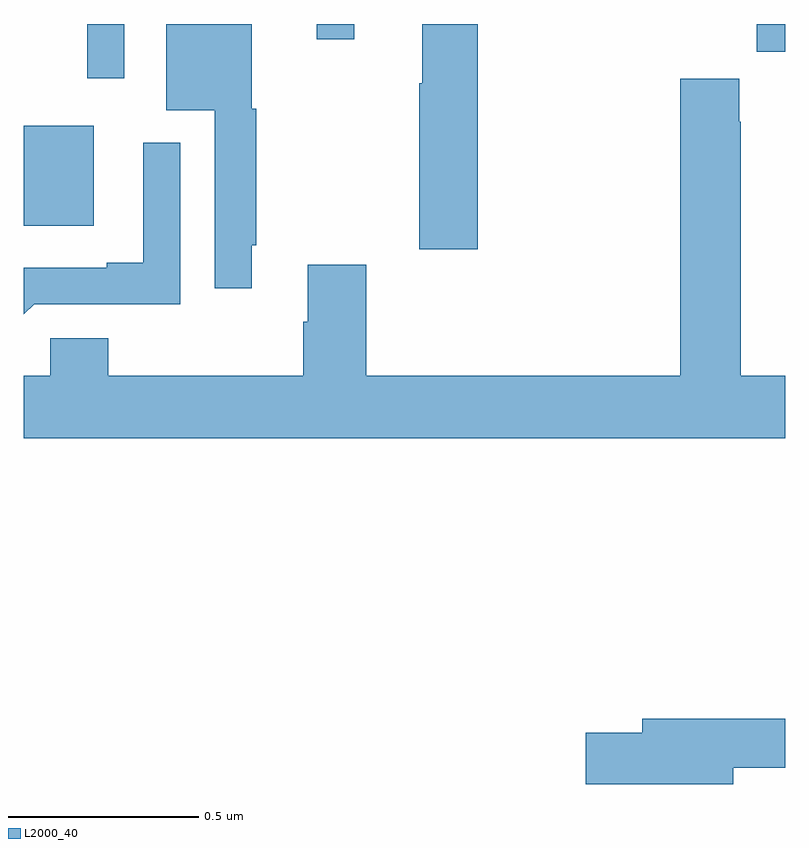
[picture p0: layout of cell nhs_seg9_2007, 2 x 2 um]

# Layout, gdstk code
import gdstk
lib = gdstk.Library(unit=1e-6, precision=1e-09)
def R(c, l, rs):  # rectangles x0, y0, x1, y1
    for r in rs: c.add(gdstk.rectangle(r[:2], r[2:], *l))
def P(c, l, *ps):  # polygons
    for p in ps: c.add(gdstk.Polygon(p, *l))
L2000_40 = (2000, 40)

nhs_seg9_2007 = lib.new_cell('nhs_seg9_2007')
R(nhs_seg9_2007, L2000_40, [(135,1204.97,135.184,1205.233), (135.167,1205.358,135.264,1205.5), (136.925,1205.427,137,1205.5), (135.769,1205.46,135.868,1205.5)])
P(nhs_seg9_2007, L2000_40, [(136.193,1205.5),(136.046,1205.5),(136.046,1205.344),(136.039,1205.344),(136.039,1204.908),(136.193,1204.908)],
  [(135.598,1204.918),(135.61,1204.918),(135.61,1205.277),(135.598,1205.277),(135.598,1205.5),(135.374,1205.5),(135.374,1205.273),(135.501,1205.273),(135.501,1204.806),(135.598,1204.806)],
  [(137,1204.576),(136.884,1204.576),(136.884,1205.243),(136.879,1205.243),(136.879,1205.356),(136.724,1205.356),(136.724,1204.576),(135.899,1204.576),(135.899,1204.867),(135.746,1204.867),(135.746,1204.718),(135.734,1204.718),(135.734,1204.576),(135.221,1204.576),(135.221,1204.674),(135.069,1204.674),(135.069,1204.576),(135,1204.576),(135,1204.412),(137,1204.412)],
  [(135.027,1204.764),(135.411,1204.764),(135.411,1205.188),(135.314,1205.188),(135.314,1204.873),(135.218,1204.873),(135.218,1204.86),(135,1204.86),(135,1204.737)],
  [(136.864,1203.546),(137,1203.546),(137,1203.674),(136.625,1203.674),(136.625,1203.638),(136.476,1203.638),(136.476,1203.503),(136.864,1203.503)])

lib.write_gds('nhs_seg9_2007.gds')
